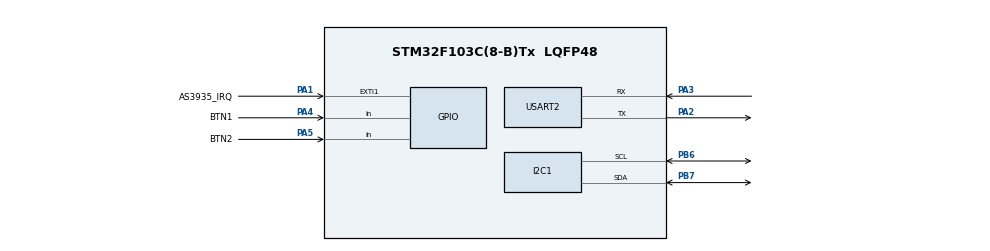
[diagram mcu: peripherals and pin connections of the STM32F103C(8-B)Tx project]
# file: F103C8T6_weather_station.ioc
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Mcu.Family=STM32F1
Mcu.Name=STM32F103C(8-B)Tx
Mcu.Package=LQFP48
NVIC.EXTI1_IRQn=true\:0\:0\:false\:false\:true\:true\:true\:false
NVIC.PriorityGroup=NVIC_PRIORITYGROUP_4
NVIC.TIM2_IRQn=true\:0\:0\:false\:false\:true\:true\:true\:true
PA1.GPIO_Label=AS3935_IRQ
PA1.GPIO_ModeDefaultEXTI=GPIO_MODE_IT_RISING
PA1.GPIO_PuPd=GPIO_PULLDOWN
PA1.Signal=GPXTI1
PA13.Mode=Trace_Asynchronous_SW
PA13.Signal=SYS_JTMS-SWDIO
PA14.Mode=Trace_Asynchronous_SW
PA14.Signal=SYS_JTCK-SWCLK
PA2.Mode=Asynchronous
PA2.Signal=USART2_TX
PA3.Mode=Asynchronous
PA3.Signal=USART2_RX
PA4.GPIO_Label=BTN1
PA4.GPIO_PuPd=GPIO_PULLDOWN
PA4.Signal=GPIO_Input
PA5.GPIO_Label=BTN2
PA5.GPIO_PuPd=GPIO_PULLDOWN
PA5.Signal=GPIO_Input
PB3.Mode=Trace_Asynchronous_SW
PB3.Signal=SYS_JTDO-TRACESWO
PB6.Mode=I2C
PB6.Signal=I2C1_SCL
PB7.Mode=I2C
PB7.Signal=I2C1_SDA
ProjectManager.HeapSize=0x200
ProjectManager.StackSize=0x400
ProjectManager.TargetToolchain=STM32CubeIDE
RCC.APB1Freq_Value=8000000
RCC.APB2Freq_Value=8000000
TIM2.Period=9999
TIM2.Prescaler=7
USART2.VirtualMode=VM_ASYNC
VP_TIM2_VS_ClockSourceINT.Mode=Internal
board=custom

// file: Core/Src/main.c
/* USER CODE BEGIN Header */
/**
  ******************************************************************************
  * @file           : main.c
  * @brief          : Main program body
  ******************************************************************************
  * @attention
  *
  * Copyright (c) 2024 STMicroelectronics.
  * All rights reserved.
  *
  * This software is licensed under terms that can be found in the LICENSE file
  * in the root directory of this software component.
  * If no LICENSE file comes with this software, it is provided AS-IS.
  *
  ******************************************************************************
  */
/* USER CODE END Header */
#include "main.h"
#include "i2c.h"
#include "tim.h"
#include "usart.h"
#include "gpio.h"

/* USER CODE BEGIN Includes */
#include "BME280.h"
#include "TSL2561.h"
#include "my_usart.h"
#include "AS3935.h"
#include "buttons.h"
/* USER CODE END Includes */

void SystemClock_Config(void);
/* USER CODE BEGIN PFP */
void B1Handle(void);
void B2Handle(void);

/* USER CODE END PFP */

int main(void)
{

  /* MCU Configuration--------------------------------------------------------*/

  /* Reset of all peripherals, Initializes the Flash interface and the Systick. */
  HAL_Init();

  /* Configure the system clock */
  SystemClock_Config();

  /* Initialize all configured peripherals */
  MX_GPIO_Init();
  MX_USART2_UART_Init();
  MX_I2C1_Init();
  MX_TIM2_Init();
  /* USER CODE BEGIN 2 */

  AS3935_init();
  NVIC_EnableIRQ(EXTI1_IRQn);	//after SRC0 on IRQ pin enable interrupts in IRQ pin

  BME_sensor BME280;

  BME280_init(&BME280);

  TSL2561_init();

  ButtonInit(&btn1, BTN1_GPIO_Port, BTN1_Pin, GPIO_PIN_SET, 10, 10);
  ButtonInit(&btn2, BTN2_GPIO_Port, BTN2_Pin, GPIO_PIN_SET, 10, 10);

  ButtonPressedCallbackRegister(&btn1, B1Handle);
  ButtonPressedCallbackRegister(&btn2, B2Handle);

  HAL_TIM_Base_Start_IT(&htim2);
  /* USER CODE END 2 */

  /* Infinite loop */
  /* USER CODE BEGIN WHILE */
  while (1)
  {
	  if(AS3935_get_lightning_flag())
	  {
		  HAL_Delay(2);
		  AS3935_clear_lightning_flag();
		  AS3935_get_interrupt_reason();
	  }
	  BME280_print_values_sensors(&BME280);
	  TSL2561_print_value();
	  usart_crlf();
	  HAL_Delay(100);
    /* USER CODE END WHILE */

  }
}

void SystemClock_Config(void)
{
  RCC_OscInitTypeDef RCC_OscInitStruct = {0};
  RCC_ClkInitTypeDef RCC_ClkInitStruct = {0};

  /** Initializes the RCC Oscillators according to the specified parameters
  * in the RCC_OscInitTypeDef structure.
  */
  RCC_OscInitStruct.OscillatorType = RCC_OSCILLATORTYPE_HSI;
  RCC_OscInitStruct.HSIState = RCC_HSI_ON;
  RCC_OscInitStruct.HSICalibrationValue = RCC_HSICALIBRATION_DEFAULT;
  RCC_OscInitStruct.PLL.PLLState = RCC_PLL_NONE;
  if (HAL_RCC_OscConfig(&RCC_OscInitStruct) != HAL_OK)
  {
    Error_Handler();
  }

  /** Initializes the CPU, AHB and APB buses clocks
  */
  RCC_ClkInitStruct.ClockType = RCC_CLOCKTYPE_HCLK|RCC_CLOCKTYPE_SYSCLK
                              |RCC_CLOCKTYPE_PCLK1|RCC_CLOCKTYPE_PCLK2;
  RCC_ClkInitStruct.SYSCLKSource = RCC_SYSCLKSOURCE_HSI;
  RCC_ClkInitStruct.AHBCLKDivider = RCC_SYSCLK_DIV1;
  RCC_ClkInitStruct.APB1CLKDivider = RCC_HCLK_DIV1;
  RCC_ClkInitStruct.APB2CLKDivider = RCC_HCLK_DIV1;

  if (HAL_RCC_ClockConfig(&RCC_ClkInitStruct, FLASH_LATENCY_0) != HAL_OK)
  {
    Error_Handler();
  }
}

/* USER CODE BEGIN 4 */
void B1Handle(void)
{
	usart_write_non_DMA("1\r\n");
}

void B2Handle(void)
{
	usart_write_non_DMA("2\r\n");
}
/* USER CODE END 4 */

void Error_Handler(void)
{
  __disable_irq();
  while (1)
  {
  }
}
